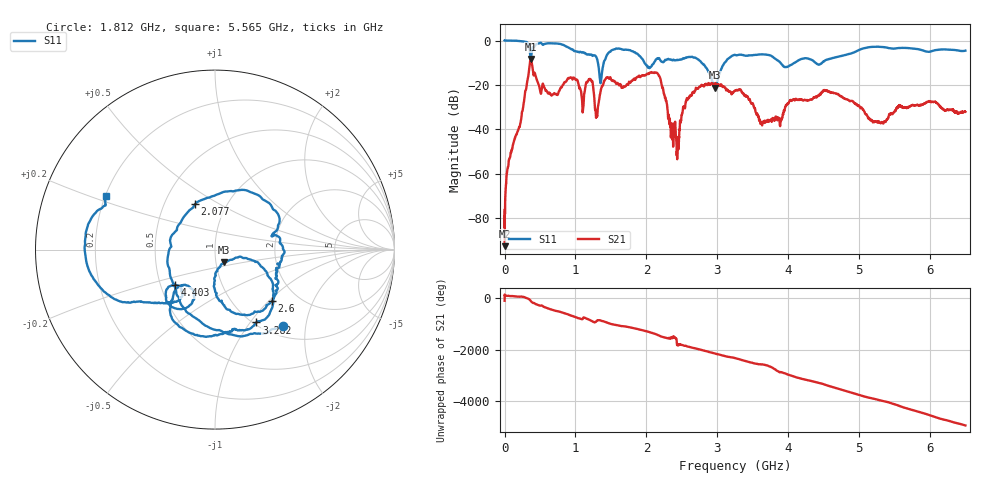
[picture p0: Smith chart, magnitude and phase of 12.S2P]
!Keysight Technologies,E5063A,MY54503115,A.05.08
!Date: Mon Dec 11 13:49:14 2023
!Data & Calibration Information:
!Freq	S11:NONE(--)	S21:NONE(--)	S12:NONE(--)	S22:NONE(--)
# Hz S dB R 50
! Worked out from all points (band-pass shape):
!   10001 points, 100 kHz to 6.5 GHz, reference 50 ohm
!   highest |S21| = -8.35 dB at 368.6 MHz (marker M1); lowest = -92.8 dB at 100 kHz (marker M2)
!   |S21| within 3 dB of the highest: 351.2 MHz to 390.4 MHz (39.18 MHz wide, 10.6 % of centre)
!   lowest |S11| = -21.2 dB at 2.964 GHz (marker M3), VSWR 1.19, Z = 54.9 - j7.71 ohm
!   |S11| at or under -10 dB: 1.971 GHz to 2.108 GHz (136.2 MHz wide, 6.68 % of centre); 2.778 GHz to 3.104 GHz (325.3 MHz wide, 11.1 % of centre); 3.892 GHz to 4.091 GHz (198.9 MHz wide, 4.98 % of centre) (the widest 3 of 5)
!   S12 and S22 are empty: the file has one direction only
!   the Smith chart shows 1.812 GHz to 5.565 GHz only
!   S11 on the Smith chart (normalised r, x): 1.812 GHz: 1.20, -1.50; 2.077 GHz: 0.71, +0.39; 2.6 GHz: 1.49, -1.05; 3.282 GHz: 1.03, -1.07; 4.403 GHz: 0.59, -0.25; 5.565 GHz: 0.20, +0.22
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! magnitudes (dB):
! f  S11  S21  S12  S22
! 100 kHz  0.0  -92.8  -  -
! 57.95 MHz  0.0  -54.2  -  -
! 368.6 MHz  -8.6  -8.3  -  -
! 499.9 MHz  -1.1  -22.4  -  -
! 957.5 MHz  -4.0  -17.6  -  -
! 1.084 GHz  -5.3  -24.3  -  -
! 1.301 GHz  -8.0  -33.3  -  -
! 1.357 GHz  -19.0  -22.2  -  -
! 1.812 GHz  -4.9  -17.8  -  -
! 2.077 GHz  -11.2  -14.4  -  -
! 2.167 GHz  -8.1  -15.3  -  -
! 2.439 GHz  -8.8  -48.2  -  -
! 2.6 GHz  -7.4  -25.5  -  -
! 2.964 GHz  -21.2  -19.6  -  -
! 3.25 GHz  -6.5  -22.7  -  -
! 3.282 GHz  -6.6  -22.5  -  -
! 3.636 GHz  -6.2  -37.2  -  -
! 4.334 GHz  -8.7  -26.7  -  -
! 4.403 GHz  -10.5  -25.5  -  -
! 5.417 GHz  -3.4  -34.4  -  -
! 5.565 GHz  -3.4  -29.3  -  -
! 6.5 GHz  -4.5  -32.2  -  -
